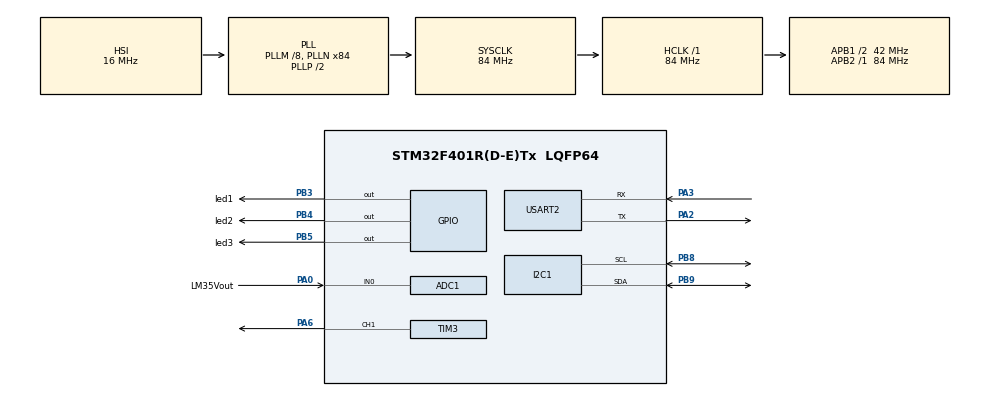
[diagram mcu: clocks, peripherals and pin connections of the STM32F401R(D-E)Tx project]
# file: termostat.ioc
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ADC1.Channel-0\#ChannelRegularConversion=ADC_CHANNEL_0
ADC1.NbrOfConversionFlag=1
ADC1.Rank-0\#ChannelRegularConversion=1
ADC1.SamplingTime-0\#ChannelRegularConversion=ADC_SAMPLETIME_3CYCLES
ADC1.master=1
Mcu.Family=STM32F4
Mcu.Name=STM32F401R(D-E)Tx
Mcu.Package=LQFP64
NVIC.PriorityGroup=NVIC_PRIORITYGROUP_4
PA0-WKUP.GPIO_Label=LM35Vout
PA0-WKUP.Signal=ADCx_IN0
PA2.Mode=Asynchronous
PA2.Signal=USART2_TX
PA3.Mode=Asynchronous
PA3.Signal=USART2_RX
PA6.Signal=S_TIM3_CH1
PB3.GPIO_Label=led1
PB3.Signal=GPIO_Output
PB4.GPIO_Label=led2
PB4.Signal=GPIO_Output
PB5.GPIO_Label=led3
PB5.Signal=GPIO_Output
PB8.Mode=I2C
PB8.Signal=I2C1_SCL
PB9.Mode=I2C
PB9.Signal=I2C1_SDA
ProjectManager.HeapSize=0x200
ProjectManager.StackSize=0x400
ProjectManager.TargetToolchain=STM32CubeIDE
RCC.48MHZClocksFreq_Value=42000000
RCC.AHBFreq_Value=84000000
RCC.APB1CLKDivider=RCC_HCLK_DIV2
RCC.APB1Freq_Value=42000000
RCC.APB1TimFreq_Value=84000000
RCC.APB2Freq_Value=84000000
RCC.APB2TimFreq_Value=84000000
RCC.CortexFreq_Value=84000000
RCC.HCLKFreq_Value=84000000
RCC.HSE_VALUE=25000000
RCC.HSI_VALUE=16000000
RCC.LSE_VALUE=32768
RCC.PLLM=8
RCC.PLLN=84
RCC.SYSCLKFreq_VALUE=84000000
RCC.SYSCLKSource=RCC_SYSCLKSOURCE_PLLCLK
RCC.VCOOutputFreq_Value=168000000
SH.ADCx_IN0.0=ADC1_IN0,IN0
SH.S_TIM3_CH1.0=TIM3_CH1,PWM Generation1 CH1
TIM3.Channel-PWM\ Generation1\ CH1=TIM_CHANNEL_1
USART2.VirtualMode=VM_ASYNC
VP_TIM3_VS_ClockSourceINT.Mode=Internal
board=custom

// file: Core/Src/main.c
/* USER CODE BEGIN Header */
/**
  ******************************************************************************
  * @file           : main.c
  * @brief          : Main program body
  ******************************************************************************
  * @attention
  *
  * Copyright (c) 2025 STMicroelectronics.
  * All rights reserved.
  *
  * This software is licensed under terms that can be found in the LICENSE file
  * in the root directory of this software component.
  * If no LICENSE file comes with this software, it is provided AS-IS.
  *
  ******************************************************************************
  */
/* USER CODE END Header */
#include "main.h"
#include <stdio.h>
#include <string.h>
#include "ssd1306.h"
#include "ssd1306_fonts.h"

ADC_HandleTypeDef hadc1;

I2C_HandleTypeDef hi2c1;

TIM_HandleTypeDef htim3;

UART_HandleTypeDef huart2;

/* USER CODE BEGIN PV */

float temperature = 0.0f ;
float temp_read = 0.0f ;

float c_level1 = 35.0f ;
float c_level2 = 60.0f ;

char msg[64];

char display[64] ;

uint16_t speed ;

/* USER CODE END PV */

void SystemClock_Config(void);
static void MX_GPIO_Init(void);
static void MX_ADC1_Init(void);
static void MX_I2C1_Init(void);
static void MX_TIM3_Init(void);
static void MX_USART2_UART_Init(void);

int main(void)
{

  /* MCU Configuration--------------------------------------------------------*/

  /* Reset of all peripherals, Initializes the Flash interface and the Systick. */
  HAL_Init();

  /* Configure the system clock */
  SystemClock_Config();

  /* Initialize all configured peripherals */
  MX_GPIO_Init();
  MX_ADC1_Init();
  MX_I2C1_Init();
  MX_TIM3_Init();
  MX_USART2_UART_Init();
  /* USER CODE BEGIN 2 */

  HAL_TIM_PWM_Start(&htim3, TIM_CHANNEL_1);
  ssd1306_Init();          // Parametresiz, kütüphane kendi içinde hi2c1 kullanıyor
  ssd1306_Fill(Black);     // Ekranı temizle
  ssd1306_UpdateScreen();  // Temiz ekranı göster

  /* USER CODE END 2 */

  /* Infinite loop */
  /* USER CODE BEGIN WHILE */
  while (1)
  {

	  HAL_ADC_Start(&hadc1) ;

	  if (HAL_ADC_PollForConversion(&hadc1, 10) == HAL_OK)
	      {
	        temp_read = HAL_ADC_GetValue(&hadc1);
	      }

	  HAL_ADC_Stop(&hadc1);

	  float vmv = (temp_read * 3300.0f) / 4095.0f ;
	  temperature = vmv / 10.0f ;

	  ssd1306_Fill(Black);

	  ssd1306_SetCursor(0,0);
	  sprintf(display, "Temp: %.2f C", temperature);
	  ssd1306_WriteString(display, Font_16x24, White);

	  if(temperature <= c_level1){

		  HAL_GPIO_WritePin(led1_GPIO_Port , led1_Pin , GPIO_PIN_SET) ;
		  HAL_GPIO_WritePin(led2_GPIO_Port ,led2_Pin , GPIO_PIN_RESET) ;
		  HAL_GPIO_WritePin(led3_GPIO_Port ,led3_Pin , GPIO_PIN_RESET) ;
		  speed = 0 ;

	  }

	  if(temperature > c_level1 && temperature < c_level2){

		  HAL_GPIO_WritePin(led1_GPIO_Port ,led1_Pin , GPIO_PIN_RESET) ;
		  HAL_GPIO_WritePin(led2_GPIO_Port ,led2_Pin , GPIO_PIN_SET) ;
		  HAL_GPIO_WritePin(led3_GPIO_Port ,led3_Pin , GPIO_PIN_RESET) ;
		  speed = 50 ;

	  }

	  if(temperature >= c_level2){

		  HAL_GPIO_WritePin(led1_GPIO_Port ,led1_Pin , GPIO_PIN_RESET) ;
		  HAL_GPIO_WritePin(led2_GPIO_Port ,led2_Pin , GPIO_PIN_RESET) ;
		  HAL_GPIO_WritePin(led3_GPIO_Port ,led3_Pin , GPIO_PIN_SET) ;
		  speed = 100 ;

	  }

	  int tempInt = (int)temperature;

	  sprintf(msg, "Temp = %d C\r\n", tempInt);
	  HAL_UART_Transmit(&huart2, (uint8_t*)msg, strlen(msg), 100);

	  ssd1306_SetCursor(0,32) ;
	  sprintf(display  , "Fan %%%d", speed) ;
	  ssd1306_WriteString(display , Font_16x24 , White);

	  ssd1306_UpdateScreen() ;
	  HAL_Delay(500);

    /* USER CODE END WHILE */

  }
}

void SystemClock_Config(void)
{
  RCC_OscInitTypeDef RCC_OscInitStruct = {0};
  RCC_ClkInitTypeDef RCC_ClkInitStruct = {0};

  /** Configure the main internal regulator output voltage
  */
  __HAL_RCC_PWR_CLK_ENABLE();
  __HAL_PWR_VOLTAGESCALING_CONFIG(PWR_REGULATOR_VOLTAGE_SCALE2);

  /** Initializes the RCC Oscillators according to the specified parameters
  * in the RCC_OscInitTypeDef structure.
  */
  RCC_OscInitStruct.OscillatorType = RCC_OSCILLATORTYPE_HSI;
  RCC_OscInitStruct.HSIState = RCC_HSI_ON;
  RCC_OscInitStruct.HSICalibrationValue = RCC_HSICALIBRATION_DEFAULT;
  RCC_OscInitStruct.PLL.PLLState = RCC_PLL_ON;
  RCC_OscInitStruct.PLL.PLLSource = RCC_PLLSOURCE_HSI;
  RCC_OscInitStruct.PLL.PLLM = 8;
  RCC_OscInitStruct.PLL.PLLN = 84;
  RCC_OscInitStruct.PLL.PLLP = RCC_PLLP_DIV2;
  RCC_OscInitStruct.PLL.PLLQ = 4;
  if (HAL_RCC_OscConfig(&RCC_OscInitStruct) != HAL_OK)
  {
    Error_Handler();
  }

  /** Initializes the CPU, AHB and APB buses clocks
  */
  RCC_ClkInitStruct.ClockType = RCC_CLOCKTYPE_HCLK|RCC_CLOCKTYPE_SYSCLK
                              |RCC_CLOCKTYPE_PCLK1|RCC_CLOCKTYPE_PCLK2;
  RCC_ClkInitStruct.SYSCLKSource = RCC_SYSCLKSOURCE_PLLCLK;
  RCC_ClkInitStruct.AHBCLKDivider = RCC_SYSCLK_DIV1;
  RCC_ClkInitStruct.APB1CLKDivider = RCC_HCLK_DIV2;
  RCC_ClkInitStruct.APB2CLKDivider = RCC_HCLK_DIV1;

  if (HAL_RCC_ClockConfig(&RCC_ClkInitStruct, FLASH_LATENCY_2) != HAL_OK)
  {
    Error_Handler();
  }
}

static void MX_ADC1_Init(void)
{

  ADC_ChannelConfTypeDef sConfig = {0};

  /** Configure the global features of the ADC (Clock, Resolution, Data Alignment and number of conversion)
  */
  hadc1.Instance = ADC1;
  hadc1.Init.ClockPrescaler = ADC_CLOCK_SYNC_PCLK_DIV4;
  hadc1.Init.Resolution = ADC_RESOLUTION_12B;
  hadc1.Init.ScanConvMode = DISABLE;
  hadc1.Init.ContinuousConvMode = DISABLE;
  hadc1.Init.DiscontinuousConvMode = DISABLE;
  hadc1.Init.ExternalTrigConvEdge = ADC_EXTERNALTRIGCONVEDGE_NONE;
  hadc1.Init.ExternalTrigConv = ADC_SOFTWARE_START;
  hadc1.Init.DataAlign = ADC_DATAALIGN_RIGHT;
  hadc1.Init.NbrOfConversion = 1;
  hadc1.Init.DMAContinuousRequests = DISABLE;
  hadc1.Init.EOCSelection = ADC_EOC_SINGLE_CONV;
  if (HAL_ADC_Init(&hadc1) != HAL_OK)
  {
    Error_Handler();
  }

  /** Configure for the selected ADC regular channel its corresponding rank in the sequencer and its sample time.
  */
  sConfig.Channel = ADC_CHANNEL_0;
  sConfig.Rank = 1;
  sConfig.SamplingTime = ADC_SAMPLETIME_3CYCLES;
  if (HAL_ADC_ConfigChannel(&hadc1, &sConfig) != HAL_OK)
  {
    Error_Handler();
  }

}

static void MX_I2C1_Init(void)
{

  hi2c1.Instance = I2C1;
  hi2c1.Init.ClockSpeed = 100000;
  hi2c1.Init.DutyCycle = I2C_DUTYCYCLE_2;
  hi2c1.Init.OwnAddress1 = 0;
  hi2c1.Init.AddressingMode = I2C_ADDRESSINGMODE_7BIT;
  hi2c1.Init.DualAddressMode = I2C_DUALADDRESS_DISABLE;
  hi2c1.Init.OwnAddress2 = 0;
  hi2c1.Init.GeneralCallMode = I2C_GENERALCALL_DISABLE;
  hi2c1.Init.NoStretchMode = I2C_NOSTRETCH_DISABLE;
  if (HAL_I2C_Init(&hi2c1) != HAL_OK)
  {
    Error_Handler();
  }

}

static void MX_TIM3_Init(void)
{

  TIM_ClockConfigTypeDef sClockSourceConfig = {0};
  TIM_MasterConfigTypeDef sMasterConfig = {0};
  TIM_OC_InitTypeDef sConfigOC = {0};

  htim3.Instance = TIM3;
  htim3.Init.Prescaler = 0;
  htim3.Init.CounterMode = TIM_COUNTERMODE_UP;
  htim3.Init.Period = 65535;
  htim3.Init.ClockDivision = TIM_CLOCKDIVISION_DIV1;
  htim3.Init.AutoReloadPreload = TIM_AUTORELOAD_PRELOAD_DISABLE;
  if (HAL_TIM_Base_Init(&htim3) != HAL_OK)
  {
    Error_Handler();
  }
  sClockSourceConfig.ClockSource = TIM_CLOCKSOURCE_INTERNAL;
  if (HAL_TIM_ConfigClockSource(&htim3, &sClockSourceConfig) != HAL_OK)
  {
    Error_Handler();
  }
  if (HAL_TIM_PWM_Init(&htim3) != HAL_OK)
  {
    Error_Handler();
  }
  sMasterConfig.MasterOutputTrigger = TIM_TRGO_RESET;
  sMasterConfig.MasterSlaveMode = TIM_MASTERSLAVEMODE_DISABLE;
  if (HAL_TIMEx_MasterConfigSynchronization(&htim3, &sMasterConfig) != HAL_OK)
  {
    Error_Handler();
  }
  sConfigOC.OCMode = TIM_OCMODE_PWM1;
  sConfigOC.Pulse = 0;
  sConfigOC.OCPolarity = TIM_OCPOLARITY_HIGH;
  sConfigOC.OCFastMode = TIM_OCFAST_DISABLE;
  if (HAL_TIM_PWM_ConfigChannel(&htim3, &sConfigOC, TIM_CHANNEL_1) != HAL_OK)
  {
    Error_Handler();
  }
  HAL_TIM_MspPostInit(&htim3);

}

static void MX_USART2_UART_Init(void)
{

  huart2.Instance = USART2;
  huart2.Init.BaudRate = 115200;
  huart2.Init.WordLength = UART_WORDLENGTH_8B;
  huart2.Init.StopBits = UART_STOPBITS_1;
  huart2.Init.Parity = UART_PARITY_NONE;
  huart2.Init.Mode = UART_MODE_TX_RX;
  huart2.Init.HwFlowCtl = UART_HWCONTROL_NONE;
  huart2.Init.OverSampling = UART_OVERSAMPLING_16;
  if (HAL_UART_Init(&huart2) != HAL_OK)
  {
    Error_Handler();
  }

}

static void MX_GPIO_Init(void)
{
  GPIO_InitTypeDef GPIO_InitStruct = {0};

  /* GPIO Ports Clock Enable */
  __HAL_RCC_GPIOA_CLK_ENABLE();
  __HAL_RCC_GPIOB_CLK_ENABLE();

  /*Configure GPIO pin Output Level */
  HAL_GPIO_WritePin(GPIOB, led1_Pin|led2_Pin|led3_Pin, GPIO_PIN_RESET);

  /*Configure GPIO pins : led1_Pin led2_Pin led3_Pin */
  GPIO_InitStruct.Pin = led1_Pin|led2_Pin|led3_Pin;
  GPIO_InitStruct.Mode = GPIO_MODE_OUTPUT_PP;
  GPIO_InitStruct.Pull = GPIO_NOPULL;
  GPIO_InitStruct.Speed = GPIO_SPEED_FREQ_LOW;
  HAL_GPIO_Init(GPIOB, &GPIO_InitStruct);

}

void Error_Handler(void)
{
  __disable_irq();
  while (1)
  {
  }
}
